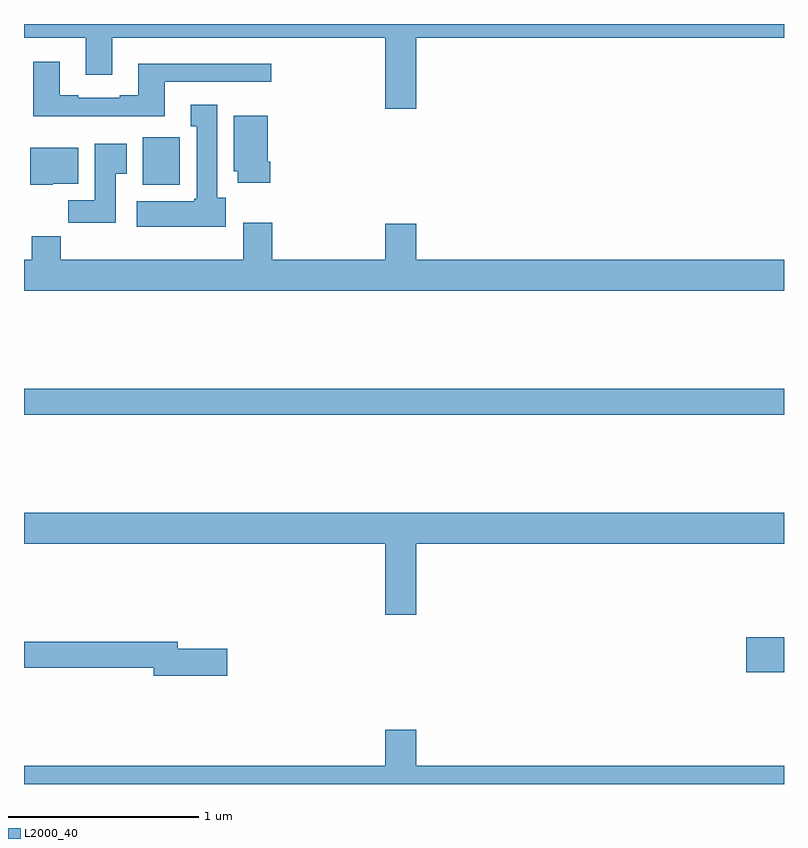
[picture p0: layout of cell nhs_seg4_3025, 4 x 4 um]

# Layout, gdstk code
import gdstk
lib = gdstk.Library(unit=1e-6, precision=1e-09)
def R(c, l, rs):  # rectangles x0, y0, x1, y1
    for r in rs: c.add(gdstk.rectangle(r[:2], r[2:], *l))
def P(c, l, *ps):  # polygons
    for p in ps: c.add(gdstk.Polygon(p, *l))
L2000_40 = (2000, 40)

nhs_seg4_3025 = lib.new_cell('nhs_seg4_3025')
R(nhs_seg4_3025, L2000_40, [(274.8,785.489,275,785.672), (271,786.844,275,786.98), (271.625,788.054,271.821,788.305)])
P(nhs_seg4_3025, L2000_40, [(273.064,788.828),(275,788.828),(275,788.9),(271,788.9),(271,788.828),(271.325,788.828),(271.325,788.634),(271.465,788.634),(271.465,788.828),(272.9,788.828),(272.9,788.454),(273.064,788.454)],
  [(271.741,788.595),(272.302,788.595),(272.302,788.692),(271.601,788.692),(271.601,788.524),(271.505,788.524),(271.505,788.511),(271.285,788.511),(271.285,788.524),(271.189,788.524),(271.189,788.701),(271.049,788.701),(271.049,788.414),(271.741,788.414)],
  [(272.062,787.986),(272.017,787.986),(272.017,788.476),(271.877,788.476),(271.877,788.363),(271.91,788.363),(271.91,787.98),(271.897,787.98),(271.897,787.966),(271.593,787.966),(271.593,787.832),(272.062,787.832)],
  [(272.297,788.176),(272.284,788.176),(272.284,788.416),(272.105,788.416),(272.105,788.124),(272.126,788.124),(272.126,788.064),(272.297,788.064)],
  [(271.483,788.113),(271.54,788.113),(271.54,788.269),(271.373,788.269),(271.373,787.972),(271.234,787.972),(271.234,787.854),(271.483,787.854)],
  [(271.152,788.06),(271.285,788.06),(271.285,788.248),(271.034,788.248),(271.034,788.054),(271.152,788.054)],
  [(275,787.66),(273.064,787.66),(273.064,787.849),(272.9,787.849),(272.9,787.66),(272.306,787.66),(272.306,787.855),(272.153,787.855),(272.153,787.66),(271.193,787.66),(271.193,787.784),(271.042,787.784),(271.042,787.66),(271,787.66),(271,787.496),(275,787.496)],
  [(273.064,786.164),(275,786.164),(275,786.328),(271,786.328),(271,786.164),(272.9,786.164),(272.9,785.79),(273.064,785.79)],
  [(272.071,785.612),(271.81,785.612),(271.81,785.648),(271,785.648),(271,785.512),(271.682,785.512),(271.682,785.47),(272.071,785.47)],
  [(275,784.996),(273.064,784.996),(273.064,785.185),(272.9,785.185),(272.9,784.996),(271,784.996),(271,784.9),(275,784.9)])

lib.write_gds('nhs_seg4_3025.gds')
